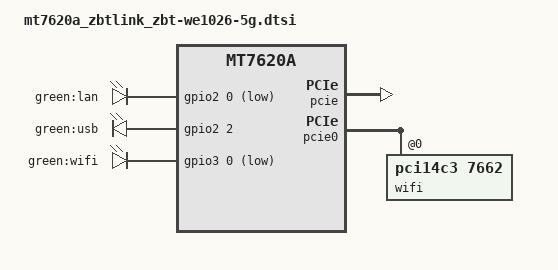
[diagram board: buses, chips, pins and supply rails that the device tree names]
// SPDX-License-Identifier: GPL-2.0-or-later OR MIT

#include "mt7620a_zbtlink_zbt-we1026.dtsi"

/ {
	compatible = "zbtlink,zbt-we1026-5g", "zbtlink,zbt-we1026",
		"ralink,mt7620a-soc";

	leds {
		compatible = "gpio-leds";

		lan {
			label = "green:lan";
			gpios = <&gpio2 0 GPIO_ACTIVE_LOW>;
		};

		usb {
			label = "green:usb";
			gpios = <&gpio2 2 GPIO_ACTIVE_HIGH>;
			trigger-sources = <&ohci_port1>, <&ehci_port1>;
			linux,default-trigger = "usbport";
		};

		wifi {
			label = "green:wifi";
			gpios = <&gpio3 0 GPIO_ACTIVE_LOW>;
		};
	};
};

&pcie {
	status = "okay";
};

&pcie0 {
	wifi@0,0 {
		compatible = "pci14c3,7662";
		reg = <0x0000 0 0 0 0>;
		mediatek,mtd-eeprom = <&factory 0x8000>;
		ieee80211-freq-limit = <5000000 6000000>;
	};
};
